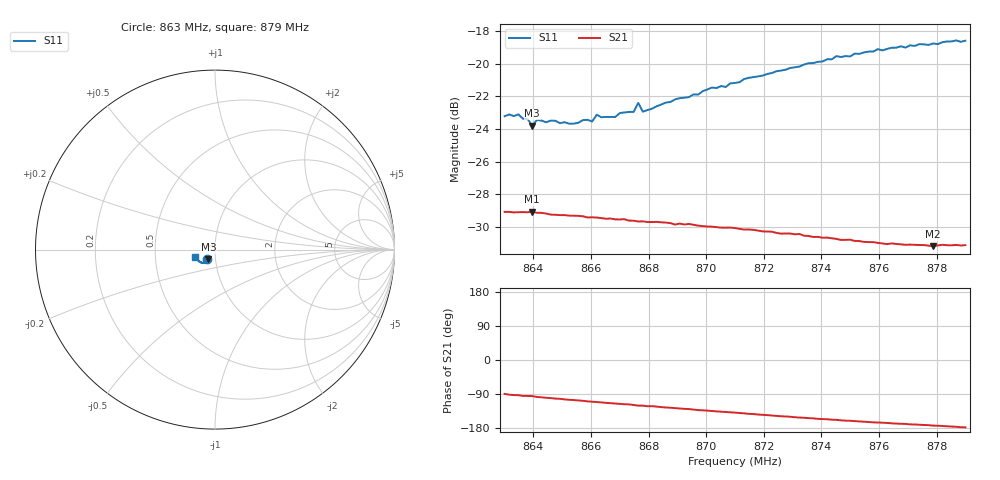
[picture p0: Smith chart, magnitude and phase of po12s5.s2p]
# HZ S RI R 50
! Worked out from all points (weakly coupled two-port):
!   101 points, 863 MHz to 879 MHz, reference 50 ohm
!   highest |S21| = -29.07 dB at 863.96 MHz (marker M1); lowest = -31.2 dB at 877.88 MHz (marker M2)
!   lowest |S11| = -23.8 dB at 863.96 MHz (marker M3), VSWR 1.14, Z = 46.2 - j4.94 ohm
!   |S11| at or under -10 dB: start of sweep to end of sweep
!   S12 and S22 are empty: the file has one direction only
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8.63e8  -0.0441 -0.053  0.000394 -0.0351  0 0  0 0
8.6348e8  -0.0431 -0.0551  -0.00172 -0.035  0 0  0 0
8.638e8  -0.0412 -0.0536  -0.00297 -0.0349  0 0  0 0
8.6396e8  -0.0365 -0.0532  -0.00316 -0.035  0 0  0 0
8.6412e8  -0.0402 -0.0538  -0.00456 -0.0346  0 0  0 0
8.6524e8  -0.0363 -0.0545  -0.00889 -0.033  0 0  0 0
8.6572e8  -0.0354 -0.0571  -0.0104 -0.0324  0 0  0 0
8.6604e8  -0.0342 -0.057  -0.0116 -0.0318  0 0  0 0
8.662e8  -0.0374 -0.0589  -0.012 -0.0315  0 0  0 0
8.6684e8  -0.0344 -0.0594  -0.014 -0.0302  0 0  0 0
8.67e8  -0.0356 -0.0609  -0.0145 -0.03  0 0  0 0
8.6748e8  -0.0335 -0.0627  -0.0159 -0.029  0 0  0 0
8.6764e8  -0.0411 -0.0637  -0.0166 -0.0283  0 0  0 0
8.678e8  -0.0346 -0.0623  -0.0167 -0.0283  0 0  0 0
8.6844e8  -0.0364 -0.0655  -0.0184 -0.027  0 0  0 0
8.71e8  -0.0475 -0.0732  -0.0236 -0.0206  0 0  0 0
8.7372e8  -0.0675 -0.0743  -0.0265 -0.0129  0 0  0 0
8.7452e8  -0.0763 -0.0728  -0.0269 -0.0109  0 0  0 0
8.75e8  -0.0783 -0.0703  -0.0272 -0.00974  0 0  0 0
8.7644e8  -0.0929 -0.0623  -0.0274 -0.00628  0 0  0 0
8.7788e8  -0.1035 -0.0509  -0.0274 -0.0033  0 0  0 0
8.79e8  -0.1109 -0.039  -0.0278 -0.00104  0 0  0 0
